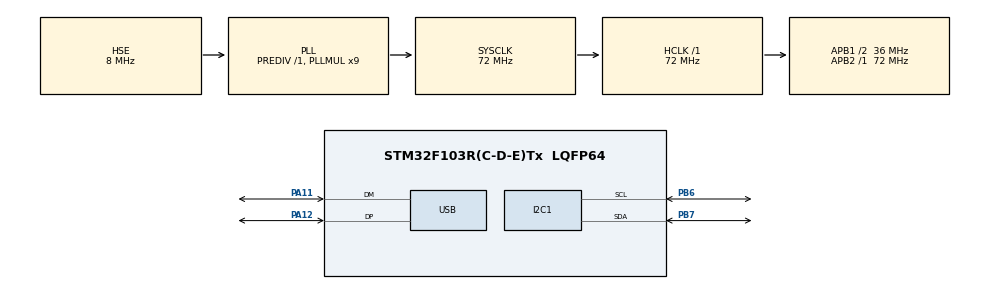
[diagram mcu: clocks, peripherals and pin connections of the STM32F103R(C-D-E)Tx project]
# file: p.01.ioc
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Mcu.Family=STM32F1
Mcu.Name=STM32F103R(C-D-E)Tx
Mcu.Package=LQFP64
NVIC.PriorityGroup=NVIC_PRIORITYGROUP_4
NVIC.USB_LP_CAN1_RX0_IRQn=true\:0\:0\:false\:false\:true\:false\:true
PA11.Mode=Device
PA11.Signal=USB_DM
PA12.Mode=Device
PA12.Signal=USB_DP
PA13.Mode=Trace_Asynchronous_SW
PA13.Signal=SYS_JTMS-SWDIO
PA14.Mode=Trace_Asynchronous_SW
PA14.Signal=SYS_JTCK-SWCLK
PB3.Mode=Trace_Asynchronous_SW
PB3.Signal=SYS_JTDO-TRACESWO
PB6.Mode=I2C
PB6.Signal=I2C1_SCL
PB7.Mode=I2C
PB7.Signal=I2C1_SDA
PD0-OSC_IN.Mode=HSE-External-Oscillator
PD0-OSC_IN.Signal=RCC_OSC_IN
PD1-OSC_OUT.Mode=HSE-External-Oscillator
PD1-OSC_OUT.Signal=RCC_OSC_OUT
ProjectManager.HeapSize=0x200
ProjectManager.StackSize=0x400
ProjectManager.TargetToolchain=MDK-ARM V5
RCC.AHBFreq_Value=72000000
RCC.APB1CLKDivider=RCC_HCLK_DIV2
RCC.APB1Freq_Value=36000000
RCC.APB1TimFreq_Value=72000000
RCC.APB2Freq_Value=72000000
RCC.APB2TimFreq_Value=72000000
RCC.HCLKFreq_Value=72000000
RCC.PLLMUL=RCC_PLL_MUL9
RCC.PLLSourceVirtual=RCC_PLLSOURCE_HSE
RCC.SYSCLKFreq_VALUE=72000000
RCC.SYSCLKSource=RCC_SYSCLKSOURCE_PLLCLK
RCC.USBFreq_Value=48000000
RCC.USBPrescaler=RCC_USBCLKSOURCE_PLL_DIV1_5
USB_DEVICE.CLASS_NAME_FS=CDC
USB_DEVICE.VirtualMode=Cdc
USB_DEVICE.VirtualModeFS=Cdc_FS
VP_USB_DEVICE_VS_USB_DEVICE_CDC_FS.Mode=CDC_FS
board=custom

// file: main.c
/* USER CODE BEGIN Header */
/**
  ******************************************************************************
  * @file           : main.c
  * @brief          : Main program body
  ******************************************************************************
  * @attention
  *
  * <h2><center>&copy; Copyright (c) 2022 STMicroelectronics.
  * All rights reserved.</center></h2>
  *
  * This software component is licensed by ST under BSD 3-Clause license,
  * the "License"; You may not use this file except in compliance with the
  * License. You may obtain a copy of the License at:
  *                        opensource.org/licenses/BSD-3-Clause
  *
  ******************************************************************************
  */
/* USER CODE END Header */
#include "main.h"
#include "i2c.h"
#include "usb_device.h"
#include "gpio.h"

/* USER CODE BEGIN Includes */
#include "math.h"
#include "usbd_cdc_if.h"
/* USER CODE END Includes */

/* USER CODE BEGIN PTD */
/////////////////////////////////////////////////////////////////////////////////////////////////
// writing registers of sensor

#define AC1 (0xAA<<8) + 0xAB
#define AC2 (0xAC<<8) + 0xAD
#define AC3 (0xAE<<8) + 0xAF
#define AC4 (0xB0<<8) + 0xB1
#define AC5 (0xB2<<8) + 0xB3
#define AC6 (0xB4<<8) + 0xB5

#define B1 (0xB6<<8) + 0xB7
#define B2 (0xB8<<8) + 0xB9

#define MB (0xBA<<8) + 0xBB
#define MC (0xBC<<8) + 0xBD
#define MD (0xBE<<8) + 0xBF

#define ctrl_meas  0xF4
#define	soft_reset 0xE0
#define sen_id     0xD0
#define dev_add    0xEF

uint8_t oss0 = 0x34;					     //wait 4.5
uint8_t oss1 = 0x74;  				   	//wait 7.5
uint8_t oss2 = 0xB4;				 	   //wait 13.5
uint8_t oss3 = 0xF4; 				  	//wait 25.5
uint8_t temprature = 0x2E;		 // wait 4.5

int ac1,ac2,ac3,b1,b2,mb,mc,md,ac4,ac5,ac6;

long x1,x2,b5,b6,x3,b3,b4,b7;

long UT,UP;
long temp,pre;
////////////////////////////////////////////////////////////////////////////////////////////////

long oldmin,oldmax;
uint8_t newmin=0,newmax=255;

////////////////////////////////////////////////////////////////////////////////////////////////

/* USER CODE END PTD */

/* USER CODE BEGIN PM */
void calib_presure(void);
void Read_pr_data(uint8_t oss);
void usb_tran_uint16(uint16_t num);
int new_range_long_int(long val,long oldmin,long oldmax,int newmin,int newmax);
/* USER CODE END PM */

void SystemClock_Config(void);

int main(void)
{

  /* MCU Configuration--------------------------------------------------------*/

  /* Reset of all peripherals, Initializes the Flash interface and the Systick. */
  HAL_Init();

  /* Configure the system clock */
  SystemClock_Config();

  /* Initialize all configured peripherals */

  MX_GPIO_Init();
  MX_I2C1_Init();
  MX_USB_DEVICE_Init();
  /* USER CODE BEGIN 2 */

	calib_presure();

  /* USER CODE END 2 */

  /* Infinite loop */
  /* USER CODE BEGIN WHILE */
  while (1)
  {

		Read_pr_data(oss3);

		usb_tran_uint16(pre);

    /* USER CODE END WHILE */

  }
}

void SystemClock_Config(void)
{
  RCC_OscInitTypeDef RCC_OscInitStruct = {0};
  RCC_ClkInitTypeDef RCC_ClkInitStruct = {0};
  RCC_PeriphCLKInitTypeDef PeriphClkInit = {0};

  /** Initializes the RCC Oscillators according to the specified parameters
  * in the RCC_OscInitTypeDef structure.
  */
  RCC_OscInitStruct.OscillatorType = RCC_OSCILLATORTYPE_HSE;
  RCC_OscInitStruct.HSEState = RCC_HSE_ON;
  RCC_OscInitStruct.HSEPredivValue = RCC_HSE_PREDIV_DIV1;
  RCC_OscInitStruct.HSIState = RCC_HSI_ON;
  RCC_OscInitStruct.PLL.PLLState = RCC_PLL_ON;
  RCC_OscInitStruct.PLL.PLLSource = RCC_PLLSOURCE_HSE;
  RCC_OscInitStruct.PLL.PLLMUL = RCC_PLL_MUL9;
  if (HAL_RCC_OscConfig(&RCC_OscInitStruct) != HAL_OK)
  {
    Error_Handler();
  }
  /** Initializes the CPU, AHB and APB buses clocks
  */
  RCC_ClkInitStruct.ClockType = RCC_CLOCKTYPE_HCLK|RCC_CLOCKTYPE_SYSCLK
                              |RCC_CLOCKTYPE_PCLK1|RCC_CLOCKTYPE_PCLK2;
  RCC_ClkInitStruct.SYSCLKSource = RCC_SYSCLKSOURCE_PLLCLK;
  RCC_ClkInitStruct.AHBCLKDivider = RCC_SYSCLK_DIV1;
  RCC_ClkInitStruct.APB1CLKDivider = RCC_HCLK_DIV2;
  RCC_ClkInitStruct.APB2CLKDivider = RCC_HCLK_DIV1;

  if (HAL_RCC_ClockConfig(&RCC_ClkInitStruct, FLASH_LATENCY_2) != HAL_OK)
  {
    Error_Handler();
  }
  PeriphClkInit.PeriphClockSelection = RCC_PERIPHCLK_USB;
  PeriphClkInit.UsbClockSelection = RCC_USBCLKSOURCE_PLL_DIV1_5;
  if (HAL_RCCEx_PeriphCLKConfig(&PeriphClkInit) != HAL_OK)
  {
    Error_Handler();
  }
}

/* USER CODE BEGIN 4 */
int new_range_long_int(long val,long oldmin,long oldmax,int newmin,int newmax)
{
	long oldrange=oldmax-oldmin;
	int newrange=newmax-newmin;
	int newval;
	newval=(((val-oldmin)*newrange)/oldrange)+newmin;

	return newval;

}

void usb_tran_uint16(uint16_t num)
{

uint8_t buffer[2]={0};

buffer[0]=num>>8;
buffer[1]=num-(buffer[0]<<8);

CDC_Transmit_FS(buffer,2);

}

void calib_presure(void)
{

uint8_t	buffer[2]={0};

HAL_I2C_Mem_Read(&hi2c1,dev_add,AC1,2,buffer,2,100);
ac1=(buffer[0]<<8)+buffer[1];
for(int i=0 ; i<=1 ; i++)
	buffer[i]=0;

HAL_I2C_Mem_Read(&hi2c1,dev_add,AC2,2,buffer,2,100);
ac2=(buffer[0]<<8)+buffer[1];
for(int i=0 ; i<=1 ; i++)
	buffer[i]=0;

HAL_I2C_Mem_Read(&hi2c1,dev_add,AC3,2,buffer,2,100);
ac3=(buffer[0]<<8)+buffer[1];
for(int i=0 ; i<=1 ; i++)
	buffer[i]=0;

HAL_I2C_Mem_Read(&hi2c1,dev_add,AC4,2,buffer,2,100);
ac4=(buffer[0]<<8)+buffer[1];
for(int i=0 ; i<=1 ; i++)
	buffer[i]=0;

HAL_I2C_Mem_Read(&hi2c1,dev_add,AC5,2,buffer,2,100);
ac5=(buffer[0]<<8)+buffer[1];
for(int i=0 ; i<=1 ; i++)
	buffer[i]=0;

HAL_I2C_Mem_Read(&hi2c1,dev_add,AC6,2,buffer,2,100);
ac6=(buffer[0]<<8)+buffer[1];
for(int i=0 ; i<=1 ; i++)
	buffer[i]=0;

HAL_I2C_Mem_Read(&hi2c1,dev_add,B1,2,buffer,2,100);
b1=(buffer[0]<<8)+buffer[1];
for(int i=0 ; i<=1 ; i++)
	buffer[i]=0;

HAL_I2C_Mem_Read(&hi2c1,dev_add,B2,2,buffer,2,100);
b2=(buffer[0]<<8)+buffer[1];
for(int i=0 ; i<=1 ; i++)
	buffer[i]=0;

HAL_I2C_Mem_Read(&hi2c1,dev_add,MB,2,buffer,2,100);
mb=(buffer[0]<<8)+buffer[1];
for(int i=0 ; i<=1 ; i++)
	buffer[i]=0;

HAL_I2C_Mem_Read(&hi2c1,dev_add,MC,2,buffer,2,100);
mc=(buffer[0]<<8)+buffer[1];
for(int i=0 ; i<=1 ; i++)
	buffer[i]=0;

HAL_I2C_Mem_Read(&hi2c1,dev_add,MD,2,buffer,2,100);
md=(buffer[0]<<8)+buffer[1];
for(int i=0 ; i<=1 ; i++)
	buffer[i]=0;

}

void Read_pr_data(uint8_t oss)
{

uint8_t buffer[3]={0};
int oss_set=0;

HAL_I2C_Mem_Write(&hi2c1,dev_add,ctrl_meas,1,&temprature,1,100);
	HAL_Delay(5);
HAL_I2C_Mem_Read(&hi2c1,dev_add,0xF6,1,&buffer[0],1,100);
HAL_I2C_Mem_Read(&hi2c1,dev_add,0xF7,1,&buffer[1],1,100);
UT=(buffer[0]<<8)+buffer[1];
for(int i=0;i<=2;i++)
	buffer[i]=0;

if(oss==oss0)
{
	oss_set=0;
HAL_I2C_Mem_Write(&hi2c1,dev_add,ctrl_meas,1,&oss,1,100);
	HAL_Delay(5);
}

else if(oss==oss1)
{
	oss_set=1;
HAL_I2C_Mem_Write(&hi2c1,dev_add,ctrl_meas,1,&oss,1,100);
	HAL_Delay(8);
}

else if(oss==oss2)
{
	oss_set=2;
HAL_I2C_Mem_Write(&hi2c1,dev_add,ctrl_meas,1,&oss,1,100);
	HAL_Delay(14);
}

else if(oss==oss3)
{
	oss_set=3;
HAL_I2C_Mem_Write(&hi2c1,dev_add,ctrl_meas,1,&oss,1,100);
	HAL_Delay(26);
}

HAL_I2C_Mem_Read(&hi2c1,dev_add,0xF6,1,&buffer[0],1,100);
HAL_I2C_Mem_Read(&hi2c1,dev_add,0xF7,1,&buffer[1],1,100);
HAL_I2C_Mem_Read(&hi2c1,dev_add,0xF8,1,&buffer[2],1,100);

UP=(buffer[0]<<16)+(buffer[1]<<8)+buffer[2];
UP=(UP>>(8-oss_set));

////////////////////////////////temprature
x1=((UT-ac6)*ac5)/pow(2,15);
x2=mc*pow(2,11)/(x1+md);
b5=x1+x2;
temp=(b5+8)/16;
//////////////////////////////////////////

b6=b5-4000;
x1=(b2*(b6*b6/pow(2,12)))/pow(2,11);
x2=ac2*b6/pow(2,11);
x3=x1+x2;
b3=(((ac1*4+x3)<<oss_set)+2)/4;
x1=ac3*b6/pow(2,13);
x2=(b1*(b6*b6/pow(2,12)))/pow(2,16);
x3=((x1+x2)+2)/4;
b4=ac4*(unsigned long)(x3+32768)/pow(2,15);
b7=((unsigned long)UP-b3)*(50000>>oss_set);
if(b7<0x80000000)
	pre=(b7*2)/b4;
else
	pre=(b7/b4)*2;
x1=(pre/pow(2,8))*(pre*pow(2,8));
x1=(x1*3038)/pow(2,16);
x2=(-7357*pre)/pow(2,16);
pre=pre+(x1+x2+3791)/16;
//////////////////////////////////////////

}

/* USER CODE END 4 */

void Error_Handler(void)
{
  __disable_irq();
  while (1)
  {
  }
}

/************************ (C) COPYRIGHT STMicroelectronics *****END OF FILE****/
